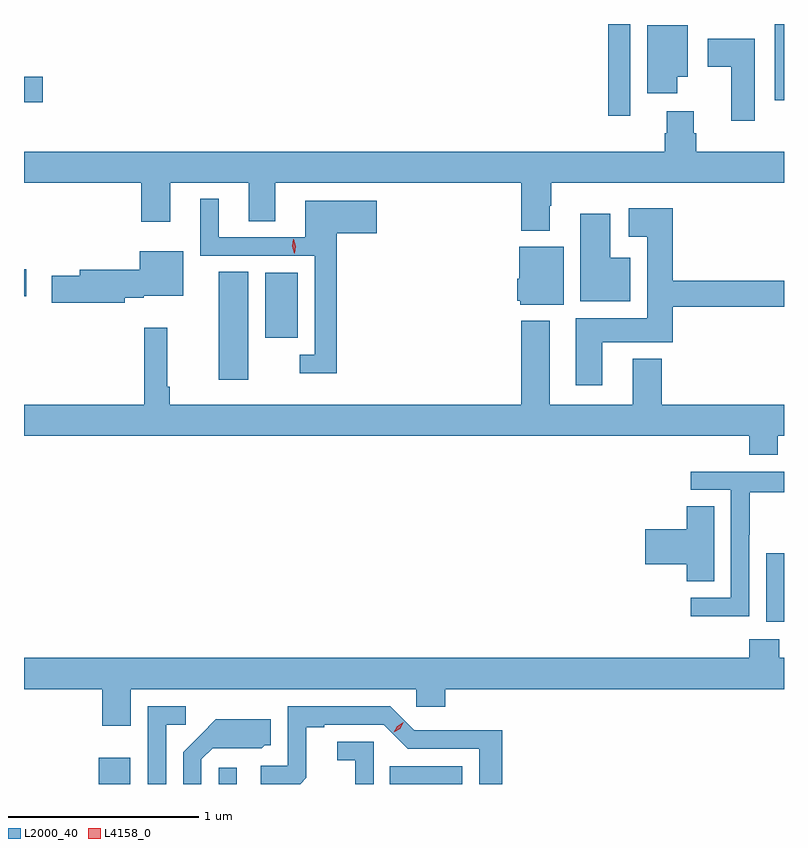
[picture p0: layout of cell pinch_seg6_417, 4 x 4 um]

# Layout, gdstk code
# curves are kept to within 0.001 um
import gdstk
lib = gdstk.Library(unit=1e-6, precision=1e-09)
def R(c, l, rs):  # rectangles x0, y0, x1, y1
    for r in rs: c.add(gdstk.rectangle(r[:2], r[2:], *l))
def P(c, l, *ps):  # polygons
    for p in ps: c.add(gdstk.Polygon(p, *l))
L2000_40 = (2000, 40)
L4158_0 = (4158, 0)

pinch_seg6_417 = lib.new_cell('pinch_seg6_417')
R(pinch_seg6_417, L2000_40, [(672.41,925.524,672.577,925.663), (673.041,925.524,673.137,925.609), (673.942,925.524,674.323,925.618), (675.923,926.378,676.017,926.739), (673.043,927.651,673.198,928.22), (673.286,927.872,673.459,928.216), (672.017,928.091,672.028,928.233), (675.091,929.04,675.207,929.524), (672.017,929.111,672.115,929.246), (675.969,929.124,676.017,929.524)])
P(pinch_seg6_417, L2000_40, [(675.454,929.246),(675.511,929.246),(675.511,929.518),(675.296,929.518),(675.296,929.16),(675.454,929.16)],
  [(675.862,929.446),(675.615,929.446),(675.615,929.299),(675.74,929.299),(675.74,929.016),(675.862,929.016)],
  [(674.785,928.568),(674.793,928.568),(674.793,928.688),(676.017,928.688),(676.017,928.852),(675.554,928.852),(675.554,928.95),(675.541,928.95),(675.541,929.065),(675.401,929.065),(675.401,928.95),(675.389,928.95),(675.389,928.852),(672.017,928.852),(672.017,928.688),(672.635,928.688),(672.635,928.482),(672.787,928.482),(672.787,928.688),(673.199,928.688),(673.199,928.486),(673.339,928.486),(673.339,928.688),(674.633,928.688),(674.633,928.436),(674.785,928.436)],
  [(673.664,928.424),(673.873,928.424),(673.873,928.594),(673.496,928.594),(673.496,928.401),(673.042,928.401),(673.042,928.603),(672.944,928.603),(672.944,928.305),(673.548,928.305),(673.548,927.783),(673.467,927.783),(673.467,927.686),(673.664,927.686)],
  [(675.061,927.848),(675.431,927.848),(675.431,928.036),(676.017,928.036),(676.017,928.172),(675.431,928.172),(675.431,928.555),(675.201,928.555),(675.201,928.403),(675.296,928.403),(675.296,927.976),(674.921,927.976),(674.921,927.624),(675.061,927.624)],
  [(675.208,928.294),(675.103,928.294),(675.103,928.525),(674.945,928.525),(674.945,928.064),(675.208,928.064)],
  [(674.857,928.351),(674.624,928.351),(674.624,928.182),(674.612,928.182),(674.612,928.068),(674.628,928.068),(674.628,928.046),(674.857,928.046)],
  [(672.546,928.082),(672.646,928.082),(672.646,928.094),(672.856,928.094),(672.856,928.327),(672.626,928.327),(672.626,928.23),(672.311,928.23),(672.311,928.2),(672.162,928.2),(672.162,928.058),(672.546,928.058)],
  [(675.985,927.356),(676.017,927.356),(676.017,927.52),(675.374,927.52),(675.374,927.763),(675.221,927.763),(675.221,927.52),(674.785,927.52),(674.785,927.961),(674.633,927.961),(674.633,927.52),(672.785,927.52),(672.785,927.616),(672.77,927.616),(672.77,927.925),(672.649,927.925),(672.649,927.52),(672.017,927.52),(672.017,927.356),(675.833,927.356),(675.833,927.257),(675.985,927.257)],
  [(675.834,926.836),(675.837,926.836),(675.837,927.06),(676.017,927.06),(676.017,927.168),(675.525,927.168),(675.525,927.072),(675.738,927.072),(675.738,926.505),(675.525,926.505),(675.525,926.407),(675.834,926.407)],
  [(675.649,926.987),(675.506,926.987),(675.506,926.864),(675.288,926.864),(675.288,926.681),(675.506,926.681),(675.506,926.59),(675.649,926.59)],
  [(672.58,926.024),(674.082,926.024),(674.082,925.931),(674.234,925.931),(674.234,926.024),(676.017,926.024),(676.017,926.188),(675.993,926.188),(675.993,926.287),(675.833,926.287),(675.833,926.188),(672.017,926.188),(672.017,926.024),(672.428,926.024),(672.428,925.83),(672.58,925.83)],
  [(673.503,925.556),(673.503,925.824),(673.597,925.824),(673.597,925.836),(673.911,925.836),(674.037,925.71),(674.414,925.71),(674.414,925.524),(674.533,925.524),(674.533,925.808),(674.292,925.808),(674.292,925.806),(674.07,925.806),(673.944,925.932),(673.404,925.932),(673.404,925.62),(673.263,925.62),(673.263,925.524),(673.471,925.524)],
  [(672.765,925.836),(672.868,925.836),(672.868,925.932),(672.669,925.932),(672.669,925.524),(672.765,925.524)],
  [(672.951,925.653),(673.011,925.713),(673.268,925.712),(673.284,925.728),(673.315,925.728),(673.315,925.864),(673.027,925.864),(672.855,925.69),(672.855,925.524),(672.951,925.524)],
  [(673.857,925.746),(673.665,925.746),(673.665,925.649),(673.761,925.649),(673.761,925.524),(673.857,925.524)])
P(pinch_seg6_417, L4158_0, [(673.964,925.796),(673.964,925.797),(673.981,925.829),(674.013,925.848),(674.013,925.848),(674.013,925.848),(673.996,925.815),(673.964,925.796)],
  [(673.44,928.318),(673.428,928.353),(673.435,928.39),(673.436,928.39),(673.436,928.39),(673.448,928.354),(673.441,928.318),(673.441,928.318)])

lib.write_gds('pinch_seg6_417.gds')
